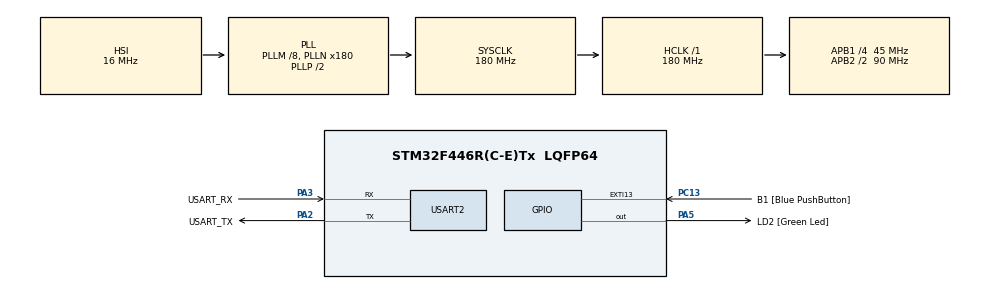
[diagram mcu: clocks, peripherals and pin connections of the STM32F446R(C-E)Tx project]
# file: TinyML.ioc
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Mcu.Family=STM32F4
Mcu.Name=STM32F446R(C-E)Tx
Mcu.Package=LQFP64
NVIC.PriorityGroup=NVIC_PRIORITYGROUP_0
PA13.GPIO_Label=TMS
PA13.Mode=Serial_Wire
PA13.Signal=SYS_JTMS-SWDIO
PA14.GPIO_Label=TCK
PA14.Mode=Serial_Wire
PA14.Signal=SYS_JTCK-SWCLK
PA2.GPIO_Label=USART_TX
PA2.Mode=Asynchronous
PA2.Signal=USART2_TX
PA3.GPIO_Label=USART_RX
PA3.Mode=Asynchronous
PA3.Signal=USART2_RX
PA5.GPIO_Label=LD2 [Green Led]
PA5.Signal=GPIO_Output
PB3.GPIO_Label=SWO
PB3.Signal=SYS_JTDO-SWO
PC13.GPIO_Label=B1 [Blue PushButton]
PC13.GPIO_ModeDefaultEXTI=GPIO_MODE_IT_FALLING
PC13.Signal=GPXTI13
PC14-OSC32_IN.Mode=LSE-External-Oscillator
PC14-OSC32_IN.Signal=RCC_OSC32_IN
PC15-OSC32_OUT.Mode=LSE-External-Oscillator
PC15-OSC32_OUT.Signal=RCC_OSC32_OUT
PH0-OSC_IN.Mode=HSE-External-Oscillator
PH0-OSC_IN.Signal=RCC_OSC_IN
PH1-OSC_OUT.Mode=HSE-External-Oscillator
PH1-OSC_OUT.Signal=RCC_OSC_OUT
ProjectManager.HeapSize=0x200
ProjectManager.StackSize=0x400
ProjectManager.TargetToolchain=STM32CubeIDE
RCC.48MHZClocksFreq_Value=84000000
RCC.AHBFreq_Value=180000000
RCC.APB1CLKDivider=RCC_HCLK_DIV4
RCC.APB1Freq_Value=45000000
RCC.APB1TimFreq_Value=90000000
RCC.APB2CLKDivider=RCC_HCLK_DIV2
RCC.APB2Freq_Value=90000000
RCC.APB2TimFreq_Value=180000000
RCC.CortexFreq_Value=180000000
RCC.FLatency-AdvancedSettings=FLASH_LATENCY_5
RCC.HCLKFreq_Value=180000000
RCC.HSE_VALUE=8000000
RCC.HSI_VALUE=16000000
RCC.PLLM=8
RCC.PLLN=180
RCC.SYSCLKFreq_VALUE=180000000
RCC.SYSCLKSource=RCC_SYSCLKSOURCE_PLLCLK
RCC.USBFreq_Value=180000000
RCC.VCOOutputFreq_Value=360000000
STMicroelectronics.X-CUBE-AI.10.2.0.ActivationBufferSizeList=9724
STMicroelectronics.X-CUBE-AI.10.2.0.ActivationBuffers=pool0
STMicroelectronics.X-CUBE-AI.10.2.0.ActivationNames=pool0
STMicroelectronics.X-CUBE-AI.10.2.0.ActivationSizes=AI_NETWORK_DATA_ACTIVATION_1_SIZE
STMicroelectronics.X-CUBE-AI.10.2.0.HeapSize=0x800
STMicroelectronics.X-CUBE-AI.10.2.0.InternalRamActivationBufferMaxSize=AI_NETWORK_DATA_ACTIVATIONS_SIZE
STMicroelectronics.X-CUBE-AI.10.2.0.LatestDirectoryUsed-ab2349418420e77f9e4e252f564e8aa72e83788eba455dde45ab97111e0ab8f3=/Users/wnedo/Desktop/Projects/TinyML/artifacts
STMicroelectronics.X-CUBE-AI.10.2.0.MaximumNumberOfInputLayer=1
STMicroelectronics.X-CUBE-AI.10.2.0.MaximumNumberOfOutputLayer=1
STMicroelectronics.X-CUBE-AI.10.2.0.MaximumSizeOfInputLayer=AI_NETWORK_IN_1_SIZE_BYTES
STMicroelectronics.X-CUBE-AI.10.2.0.MaximumSizeOfOutputLayer=AI_NETWORK_OUT_1_SIZE_BYTES
STMicroelectronics.X-CUBE-AI.10.2.0.ModelActualCompression-ab2349418420e77f9e4e252f564e8aa72e83788eba455dde45ab97111e0ab8f3=0.0
STMicroelectronics.X-CUBE-AI.10.2.0.ModelCompression-ab2349418420e77f9e4e252f564e8aa72e83788eba455dde45ab97111e0ab8f3=None
STMicroelectronics.X-CUBE-AI.10.2.0.ModelFlashOccupation-ab2349418420e77f9e4e252f564e8aa72e83788eba455dde45ab97111e0ab8f3=138177
STMicroelectronics.X-CUBE-AI.10.2.0.ModelHashList=ab2349418420e77f9e4e252f564e8aa72e83788eba455dde45ab97111e0ab8f3
STMicroelectronics.X-CUBE-AI.10.2.0.ModelKind-ab2349418420e77f9e4e252f564e8aa72e83788eba455dde45ab97111e0ab8f3=ONNX
STMicroelectronics.X-CUBE-AI.10.2.0.ModelMacc-ab2349418420e77f9e4e252f564e8aa72e83788eba455dde45ab97111e0ab8f3=271563
STMicroelectronics.X-CUBE-AI.10.2.0.ModelName-ab2349418420e77f9e4e252f564e8aa72e83788eba455dde45ab97111e0ab8f3=network
STMicroelectronics.X-CUBE-AI.10.2.0.ModelNameList=network
STMicroelectronics.X-CUBE-AI.10.2.0.ModelRamOccupation-ab2349418420e77f9e4e252f564e8aa72e83788eba455dde45ab97111e0ab8f3=9724
STMicroelectronics.X-CUBE-AI.10.2.0.ModelStructureFile-ab2349418420e77f9e4e252f564e8aa72e83788eba455dde45ab97111e0ab8f3=/Users/wnedo/Desktop/Projects/TinyML/artifacts/tiny_mnist_best_quantized.onnx
STMicroelectronics.X-CUBE-AI.10.2.0.ModelType-ab2349418420e77f9e4e252f564e8aa72e83788eba455dde45ab97111e0ab8f3=STM32Cube.AI MCU runtime
STMicroelectronics.X-CUBE-AI.10.2.0.ReadyForCodeGeneration=true
STMicroelectronics.X-CUBE-AI.10.2.0.StackSize=0x800
STMicroelectronics.X-CUBE-AI.10.2.0.WorkingBufferStartAddrList=0xFFFFFFFF
STMicroelectronics.X-CUBE-AI.10.2.0.XAaCUBEAaAICcArtificialOoIntelligenceJjCore=true
STMicroelectronics.X-CUBE-AI.10.2.0.copyWeightToRam-ab2349418420e77f9e4e252f564e8aa72e83788eba455dde45ab97111e0ab8f3=false
STMicroelectronics.X-CUBE-AI.10.2.0.customLayerConfigEnabled-ab2349418420e77f9e4e252f564e8aa72e83788eba455dde45ab97111e0ab8f3=false
STMicroelectronics.X-CUBE-AI.10.2.0.noOnnxIoTranspose-ab2349418420e77f9e4e252f564e8aa72e83788eba455dde45ab97111e0ab8f3=false
STMicroelectronics.X-CUBE-AI.10.2.0.useInputAllocation-ab2349418420e77f9e4e252f564e8aa72e83788eba455dde45ab97111e0ab8f3=false
STMicroelectronics.X-CUBE-AI.10.2.0.useOutputAllocation-ab2349418420e77f9e4e252f564e8aa72e83788eba455dde45ab97111e0ab8f3=false
USART2.VirtualMode=VM_ASYNC
VP_STMicroelectronics.X-CUBE-AI_VS_ArtificialOoIntelligenceJjXAaCUBEAaAI_10.2.0.Mode=ArtificialOoIntelligenceJjXAaCUBEAaAI
board=NUCLEO-F446RE

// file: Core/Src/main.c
/* USER CODE BEGIN Header */
/**
  ******************************************************************************
  * @file           : main.c
  * @brief          : Main program body
  ******************************************************************************
  * @attention
  *
  * Copyright (c) 2025 STMicroelectronics.
  * All rights reserved.
  *
  * This software is licensed under terms that can be found in the LICENSE file
  * in the root directory of this software component.
  * If no LICENSE file comes with this software, it is provided AS-IS.
  *
  ******************************************************************************
  */
/* USER CODE END Header */
#include "main.h"

/* USER CODE BEGIN Includes */
#include <stdio.h>
#include <string.h>
#include "ai_platform.h"
#include "network.h"
#include "network_data.h"
#include "input_preproc.h"
#include "mnist_samples.h"

/* USER CODE END Includes */

UART_HandleTypeDef huart2;

/* USER CODE BEGIN PV */
static ai_handle network = AI_HANDLE_NULL;
AI_ALIGNED(AI_NETWORK_ACTIVATIONS_ALIGNMENT)
static uint8_t activations[AI_NETWORK_DATA_ACTIVATIONS_SIZE];
AI_ALIGNED(4) static uint8_t ai_input_u8[AI_NETWORK_IN_1_SIZE_BYTES];
AI_ALIGNED(4) static uint8_t ai_output_u8[AI_NETWORK_OUT_1_SIZE_BYTES];
/* USER CODE END PV */

void SystemClock_Config(void);
static void MX_GPIO_Init(void);

int main(void)
{

  /* MCU Configuration--------------------------------------------------------*/

  /* Reset of all peripherals, Initializes the Flash interface and the Systick. */
  HAL_Init();

  /* Configure the system clock */
  SystemClock_Config();

  /* Initialize all configured peripherals */
  MX_GPIO_Init();
  MX_USART2_UART_Init();
  /* USER CODE BEGIN 2 */

  /* Initialize X-CUBE-AI network */
  {
    const ai_handle act_addr[] = { activations };
    extern const ai_u64 s_network_weights_array_u64[];
    const ai_handle wgt_addr[] = { s_network_weights_array_u64 };  /* Use real weights directly */

    ai_error err = ai_network_create_and_init(&network, act_addr, wgt_addr);
    if (err.type != AI_ERROR_NONE) {
      Error_Handler();
    }
  }

  /* Prepare AI buffer descriptors from the network */
  ai_buffer* ai_input = ai_network_inputs_get(network, NULL);
  ai_buffer* ai_output = ai_network_outputs_get(network, NULL);
  ai_input[0].data = (ai_handle)ai_input_u8;
  ai_output[0].data = (ai_handle)ai_output_u8;

  /* Run inference on MNIST images */
  for (int i = 0; i < MNIST_NUM_SAMPLES; ++i) {
    preprocess_u8_to_u8_quant_norm(&mnist_images[i][0], ai_input_u8);
    memcpy((uint8_t*)ai_input[0].data, ai_input_u8, AI_NETWORK_IN_1_SIZE_BYTES);

    /* Measure inference latency */
    uint32_t start_time = HAL_GetTick();
    ai_i32 nbatch = ai_network_run(network, ai_input, ai_output);
    uint32_t end_time = HAL_GetTick();
    uint32_t latency_ms = end_time - start_time;

    if (nbatch != 1) {
      Error_Handler();
    }

    const uint8_t* out_u8 = (const uint8_t*)ai_output[0].data;

    int argmax = 0;
    uint8_t vmax = out_u8[0];
    for (int k = 1; k < (int)AI_NETWORK_OUT_1_SIZE; ++k) {
      if (out_u8[k] > vmax) {
        vmax = out_u8[k];
        argmax = k;
      }
    }

    char line[160];
    int n = snprintf(line, sizeof(line), "Sample %d (label=%d): pred=%d, latency=%lums, out=[",
                     i, mnist_labels[i], argmax, (unsigned long)latency_ms);
    HAL_UART_Transmit(&huart2, (uint8_t*)line, (uint16_t)n, HAL_MAX_DELAY);

    for (int k = 0; k < (int)AI_NETWORK_OUT_1_SIZE; ++k) {
      n = snprintf(line, sizeof(line), "%u%s", out_u8[k],
                   (k + 1 == (int)AI_NETWORK_OUT_1_SIZE) ? "]\r\n" : ", ");
      HAL_UART_Transmit(&huart2, (uint8_t*)line, (uint16_t)n, HAL_MAX_DELAY);
    }
  }

  /* USER CODE END 2 */

  /* Infinite loop */
  while (1)
  {

  }
}

void SystemClock_Config(void)
{
  RCC_OscInitTypeDef RCC_OscInitStruct = {0};
  RCC_ClkInitTypeDef RCC_ClkInitStruct = {0};

  /** Configure the main internal regulator output voltage
  */
  __HAL_RCC_PWR_CLK_ENABLE();
  __HAL_PWR_VOLTAGESCALING_CONFIG(PWR_REGULATOR_VOLTAGE_SCALE1);

  /** Initializes the RCC Oscillators according to the specified parameters
  * in the RCC_OscInitTypeDef structure.
  */
  RCC_OscInitStruct.OscillatorType = RCC_OSCILLATORTYPE_HSI;
  RCC_OscInitStruct.HSIState = RCC_HSI_ON;
  RCC_OscInitStruct.HSICalibrationValue = RCC_HSICALIBRATION_DEFAULT;
  RCC_OscInitStruct.PLL.PLLState = RCC_PLL_ON;
  RCC_OscInitStruct.PLL.PLLSource = RCC_PLLSOURCE_HSI;
  RCC_OscInitStruct.PLL.PLLM = 8;
  RCC_OscInitStruct.PLL.PLLN = 180;
  RCC_OscInitStruct.PLL.PLLP = RCC_PLLP_DIV2;
  RCC_OscInitStruct.PLL.PLLQ = 2;
  RCC_OscInitStruct.PLL.PLLR = 2;
  if (HAL_RCC_OscConfig(&RCC_OscInitStruct) != HAL_OK)
  {
    Error_Handler();
  }

  /** Activate the Over-Drive mode
  */
  if (HAL_PWREx_EnableOverDrive() != HAL_OK)
  {
    Error_Handler();
  }

  /** Initializes the CPU, AHB and APB buses clocks
  */
  RCC_ClkInitStruct.ClockType = RCC_CLOCKTYPE_HCLK|RCC_CLOCKTYPE_SYSCLK
                              |RCC_CLOCKTYPE_PCLK1|RCC_CLOCKTYPE_PCLK2;
  RCC_ClkInitStruct.SYSCLKSource = RCC_SYSCLKSOURCE_PLLCLK;
  RCC_ClkInitStruct.AHBCLKDivider = RCC_SYSCLK_DIV1;
  RCC_ClkInitStruct.APB1CLKDivider = RCC_HCLK_DIV4;
  RCC_ClkInitStruct.APB2CLKDivider = RCC_HCLK_DIV2;

  if (HAL_RCC_ClockConfig(&RCC_ClkInitStruct, FLASH_LATENCY_5) != HAL_OK)
  {
    Error_Handler();
  }
}

void MX_USART2_UART_Init(void)
{

  huart2.Instance = USART2;
  huart2.Init.BaudRate = 115200;
  huart2.Init.WordLength = UART_WORDLENGTH_8B;
  huart2.Init.StopBits = UART_STOPBITS_1;
  huart2.Init.Parity = UART_PARITY_NONE;
  huart2.Init.Mode = UART_MODE_TX_RX;
  huart2.Init.HwFlowCtl = UART_HWCONTROL_NONE;
  huart2.Init.OverSampling = UART_OVERSAMPLING_16;
  if (HAL_UART_Init(&huart2) != HAL_OK)
  {
    Error_Handler();
  }

}

static void MX_GPIO_Init(void)
{
  GPIO_InitTypeDef GPIO_InitStruct = {0};

  /* GPIO Ports Clock Enable */
  __HAL_RCC_GPIOC_CLK_ENABLE();
  __HAL_RCC_GPIOH_CLK_ENABLE();
  __HAL_RCC_GPIOA_CLK_ENABLE();
  __HAL_RCC_GPIOB_CLK_ENABLE();

  /*Configure GPIO pin Output Level */
  HAL_GPIO_WritePin(LD2_GPIO_Port, LD2_Pin, GPIO_PIN_RESET);

  /*Configure GPIO pin : B1_Pin */
  GPIO_InitStruct.Pin = B1_Pin;
  GPIO_InitStruct.Mode = GPIO_MODE_IT_FALLING;
  GPIO_InitStruct.Pull = GPIO_NOPULL;
  HAL_GPIO_Init(B1_GPIO_Port, &GPIO_InitStruct);

  /*Configure GPIO pin : LD2_Pin */
  GPIO_InitStruct.Pin = LD2_Pin;
  GPIO_InitStruct.Mode = GPIO_MODE_OUTPUT_PP;
  GPIO_InitStruct.Pull = GPIO_NOPULL;
  GPIO_InitStruct.Speed = GPIO_SPEED_FREQ_LOW;
  HAL_GPIO_Init(LD2_GPIO_Port, &GPIO_InitStruct);

}

void Error_Handler(void)
{
  __disable_irq();
  while (1)
  {
  }
}
